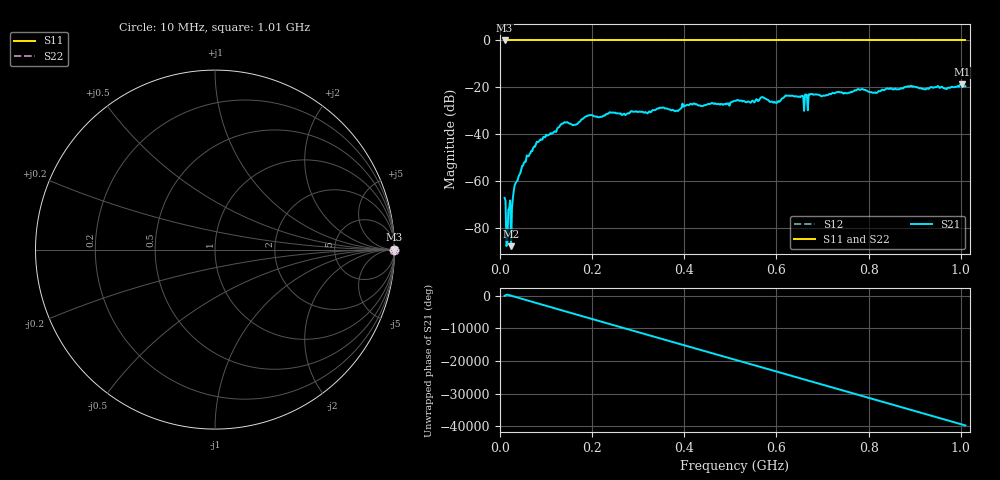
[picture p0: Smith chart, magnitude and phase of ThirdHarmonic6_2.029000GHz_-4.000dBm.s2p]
! 8/17/2025 12:20:40 AM
! C:\ANRITSUVNA\TEMP\TEMP.S2P
! CHANNEL.1
! TR.MEASUREMENT
! RAW.DATA
! RF.CORRECTION.OFF
! AVERAGING.OFF
! IF.BANDWIDTH: 5KHZ
! SWEEPTYPE:  FREQ.SWEEP(Linear)
! Reference Plane Port Info
! PORT:  PORT1  PORT2
! DISTANCE:  0  m  0  m
! TIME:  0  s  0  s
! PHASE.OFFSET:  0  deg.  0  deg.
! LOSS:  0  dB  0  dB
! REF.LOSS:  0  dB  0  dB
! REF.FREQ:  0  Hz  0  Hz
! Power Info
! POWER:  -20  dBm  -20  dBm
! EFF.POWER:  -20  dBm  -20  dBm
! SOURCE.ATTEN:  0  dB  0  dB
! TEST.ATTEN:  0  dB  0  dB
# GHZ S RI R 50.0
! FREQ.GHZ  S11RE  S11IM  S21RE  S21IM  S12RE  S12IM  S22RE  S22IM
!; PortSelection: Port_12
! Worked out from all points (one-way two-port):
!   501 points, 10 MHz to 1.01 GHz, reference 50 ohm
!   highest |S21| = -18.82 dB at 1.002 GHz (marker M1); lowest = -88.0 dB at 24 MHz (marker M2)
!   lowest |S11| = 0.0 dB at 10 MHz (marker M3)
!   |S11| at or under -10 dB: nowhere
!   |S22| runs from 0.0 to 0.0 dB; largest |S21 - S12| = 1.1
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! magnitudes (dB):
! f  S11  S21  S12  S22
! 10 MHz  0.0  -67.3  0.0  0.0
! 16 MHz  0.0  -86.5  0.0  0.0
! 24 MHz  0.0  -88.0  0.0  0.0
! 36 MHz  0.0  -60.3  0.0  0.0
! 56 MHz  0.0  -51.9  0.0  0.0
! 76 MHz  0.0  -45.4  0.0  0.0
! 136 MHz  0.0  -35.7  0.0  0.0
! 162 MHz  0.0  -36.1  0.0  0.0
! 178 MHz  0.0  -33.6  0.0  0.0
! 344 MHz  0.0  -29.2  0.0  0.0
! 382 MHz  0.0  -30.1  0.0  0.0
! 416 MHz  0.0  -27.3  0.0  0.0
! 510 MHz  0.0  -25.8  0.0  0.0
! 570 MHz  0.0  -24.2  0.0  0.0
! 598 MHz  0.0  -26.6  0.0  0.0
! 624 MHz  0.0  -23.6  0.0  0.0
! 654 MHz  0.0  -23.8  0.0  0.0
! 664 MHz  0.0  -23.1  0.0  0.0
! 678 MHz  0.0  -22.9  0.0  0.0
! 844 MHz  0.0  -20.7  0.0  0.0
! 1.002 GHz  0.0  -18.8  0.0  0.0
! 1.01 GHz  0.0  -19.5  0.0  0.0
